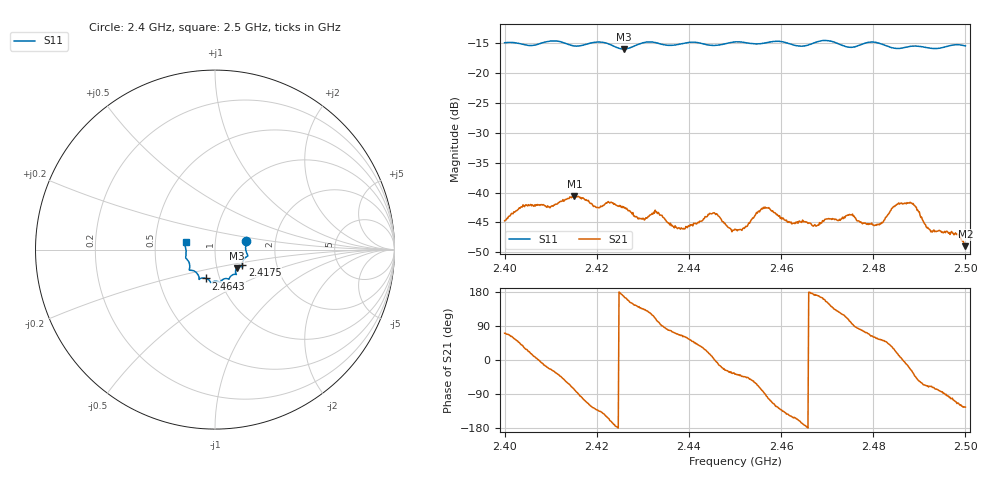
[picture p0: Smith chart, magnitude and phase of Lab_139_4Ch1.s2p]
# Hz S RI R 50
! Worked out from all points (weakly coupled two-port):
!   601 points, 2.4 GHz to 2.5 GHz, reference 50 ohm
!   highest |S21| = -40.57 dB at 2.4152 GHz (marker M1); lowest = -49.0 dB at 2.5 GHz (marker M2)
!   lowest |S11| = -15.9 dB at 2.4258 GHz (marker M3), VSWR 1.38, Z = 62.3 - j13.2 ohm
!   |S11| at or under -10 dB: start of sweep to end of sweep
!   S12 and S22 are empty: the file has one direction only
!   S11 on the Smith chart (normalised r, x): 2.4 GHz: 1.41, +0.14; 2.4175 GHz: 1.34, -0.23; 2.4643 GHz: 0.86, -0.28; 2.5 GHz: 0.72, +0.06
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2.4e9  0.1733 0.0487  0.00193 0.00547  0 0  0 0
2.404167e9  0.1721 0.0235  0.00645 0.00428  0 0  0 0
2.41e9  0.1832 -0.0332  0.00694 -0.00311  0 0  0 0
2.415167e9  0.159 -0.0573  0.00181 -0.00919  0 0  0 0
2.416667e9  0.1532 -0.0747  -0.00117 -0.0088  0 0  0 0
2.4175e9  0.152 -0.0841  -0.00264 -0.00825  0 0  0 0
2.425833e9  0.1214 -0.1036  -0.00747 0.00152  0 0  0 0
2.429333e9  0.1162 -0.1331  -0.00446 0.00407  0 0  0 0
2.433333e9  0.1131 -0.1374  -0.00126 0.00672  0 0  0 0
2.438667e9  0.0806 -0.1582  0.00237 0.00437  0 0  0 0
2.445667e9  0.0502 -0.1635  0.00667 -8.3e-05  0 0  0 0
2.45e9  0.0287 -0.1808  0.00392 -0.00302  0 0  0 0
2.456667e9  -0.0115 -0.1794  -0.000266 -0.00742  0 0  0 0
2.464333e9  -0.0501 -0.1608  -0.00547 -0.00143  0 0  0 0
2.466667e9  -0.0761 -0.1592  -0.00534 0.000363  0 0  0 0
2.475e9  -0.1061 -0.1261  -0.00131 0.0064  0 0  0 0
2.480667e9  -0.1431 -0.1109  0.00292 0.00445  0 0  0 0
2.483333e9  -0.1407 -0.0899  0.00491 0.00446  0 0  0 0
2.488167e9  -0.161 -0.0489  0.00736 -0.00361  0 0  0 0
2.492333e9  -0.1608 -0.0219  0.0017 -0.00457  0 0  0 0
2.498167e9  -0.1703 0.0334  -0.00188 -0.00403  0 0  0 0
2.5e9  -0.164 0.0426  -0.00201 -0.00294  0 0  0 0
